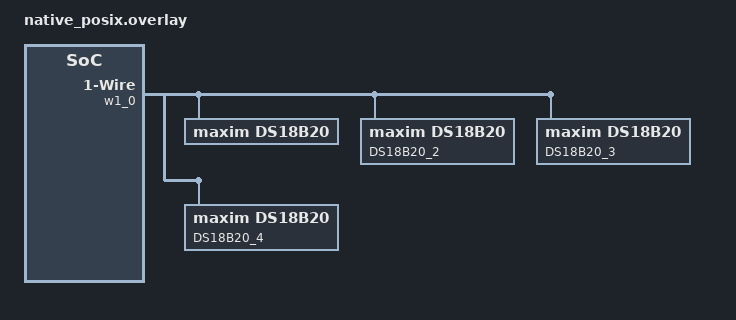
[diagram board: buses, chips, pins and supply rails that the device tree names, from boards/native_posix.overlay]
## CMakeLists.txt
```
# SPDX-License-Identifier: Apache-2.0

cmake_minimum_required(VERSION 3.13.1)

find_package(Zephyr REQUIRED HINTS $ENV{ZEPHYR_BASE})
project(1wire)

target_sources(app PRIVATE src/main.c)
```

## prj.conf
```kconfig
# SPDX-License-Identifier: Apache-2.0

CONFIG_W1=y
CONFIG_SENSOR=y
CONFIG_DS18B20=y

CONFIG_EMUL=y
CONFIG_EMUL_DS18B20=y
CONFIG_W1_EMUL=y
CONFIG_LOG=y

CONFIG_SENSOR_LOG_LEVEL_DBG=y
CONFIG_W1_LOG_LEVEL_DBG=y

CONFIG_SHELL=y
CONFIG_SENSOR_SHELL=y

CONFIG_LOG_BACKEND_NATIVE_POSIX=y
```

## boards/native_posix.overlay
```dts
&w1_0 {
	ds18b20 {
		status = "okay";
		compatible = "maxim,ds18b20";
		label = "DS18B20";
	};

	ds18b20_2 {
		status = "okay";
		compatible = "maxim,ds18b20";
		label = "DS18B20_2";
	};

	ds18b20_3 {
		status = "okay";
		compatible = "maxim,ds18b20";
		label = "DS18B20_3";
	};

	ds18b20_4 {
		status = "okay";
		compatible = "maxim,ds18b20";
		label = "DS18B20_4";
	};
};
```

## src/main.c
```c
/*
 * Copyright (c) 2020 Alexander Mihajlovic <a@abxy.se>
 *
 * SPDX-License-Identifier: Apache-2.0
 */

#include <zephyr.h>
#include <drivers/w1.h>
#include <drivers/sensor/ds18b20.h>
#include <sys/printk.h>
#include <stdio.h>

#define W1_BUS_NAME "1WIRE_0"

void main(void)
{
	const struct device *w1, *dev;
	struct sensor_value temp;
	int ret;

	w1 = device_get_binding(W1_BUS_NAME);
	if (w1 == NULL)
	{
		printk("Dev not found: %s\n", W1_BUS_NAME);
		return;
	}

	dev = device_get_binding("DS18B20");
	if (dev == NULL)
	{
		printk("Dev not found: %s\n", "DS18B20");
		return;
	}

	struct w1_search search;
	struct w1_addr addr;
	int peripheral_count;

	while (1) {
		printk("Searching...\n\n");

		w1_search_init(&search, w1, W1_SEARCH_ALL);
		peripheral_count = 0;

		do
		{
			ret = w1_search_next(&search, &addr);
			if (ret < 0) {
				printk("1-wire search error: %d", ret);
				break;
			}

			peripheral_count++;

			if (addr.family == DS18B20_FAMILIY_CODE) {
				printk("Address: %s\n", w1_addr_str(&addr));

				ds18b20_set_addr(dev, &addr);
				sensor_sample_fetch(dev);
				sensor_channel_get(dev, SENSOR_CHAN_AMBIENT_TEMP, &temp);
				printk("Temperature: %d.%06d °C\n\n", temp.val1, temp.val2);
			}
		} while (ret != 0);

		printk("\nFound %d peripherals on %s!\n--\n\n", peripheral_count, W1_BUS_NAME);

		k_sleep(K_MSEC(5000));
	}


	printk("Done!\n");
}
```
